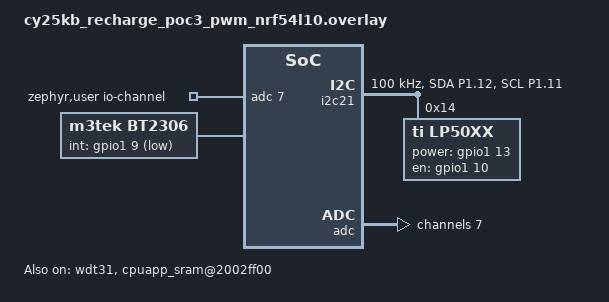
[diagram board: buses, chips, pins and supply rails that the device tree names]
/*
 * Copyright (c) 2024 Nordic Semiconductor ASA
 *
 * SPDX-License-Identifier: LicenseRef-Nordic-5-Clause
 */

/* For nRF54L, watchdog status is disabled by default. Needs to be enabled in DTS overlay. */
&wdt31 {
	status = "okay";
};

/* Application does not use cpuflpr core. Assign whole RRAM to cpuapp. */
&cpuapp_rram {
	reg = < 0x0 DT_SIZE_K(1022) >;
};

/ {
	/delete-node/ pwmleds;
    /delete-node/ aliases;
    /delete-node/ buttons;
    /delete-node/ leds;
};

&pinctrl {
	i2c21_default_alt: i2c21_default_alt {
		group1 {
			psels = <NRF_PSEL(TWIM_SDA, 1, 12)>,
				<NRF_PSEL(TWIM_SCL, 1, 11)>;
		};
	};

	i2c21_sleep_alt: i2c21_sleep_alt {
		group1 {
			psels = <NRF_PSEL(TWIM_SDA, 1, 12)>,
				<NRF_PSEL(TWIM_SCL, 1, 11)>;
			low-power-enable;
		};
	};
};

#include <zephyr/dt-bindings/led/led.h>
&i2c21 {
	compatible = "nordic,nrf-twim";
	status = "okay";
	pinctrl-0 = <&i2c21_default_alt>;
	pinctrl-1 = <&i2c21_sleep_alt>;
	pinctrl-names = "default", "sleep";
    clock-frequency = <I2C_BITRATE_STANDARD>;
    lp50xx: lp50xx@14 {
		compatible = "ti,lp50xx";
		reg = <0x14>;
        power-gpios = <&gpio1 13 (GPIO_ACTIVE_HIGH)>;
		en-gpios = <&gpio1 10 (GPIO_ACTIVE_HIGH)>;
        led_0 {
            label = "S-W";
            index = <0>;
            color-mapping =
                <LED_COLOR_ID_WHITE>;
        };
        led_1 {
            label = "V-W";
            index = <1>;
            color-mapping =
                <LED_COLOR_ID_WHITE>;
        };
        led_2 {
            label = "V-R";
            index = <2>;
            color-mapping =
                <LED_COLOR_ID_WHITE>;
        };
        led_3 {
            label = "M-W";
            index = <3>;
            color-mapping =
                <LED_COLOR_ID_WHITE>;
        };
        led_4 {
            label = "M-R";
            index = <4>;
            color-mapping =
                <LED_COLOR_ID_WHITE>;
        };
        led_5 {
            label = "LED_CAPS";
            index = <5>;
            color-mapping =
                <LED_COLOR_ID_WHITE>;
        };
        led_6 {
            label = "LED_NUM";
            index = <6>;
            color-mapping =
                <LED_COLOR_ID_WHITE>;
        };
        led_7 {
            label = "LED_2.4G";
            index = <7>;
            color-mapping =
                <LED_COLOR_ID_WHITE>;
        };
        led_8 {
            label = "LED_BT1";
            index = <8>;
            color-mapping =
                <LED_COLOR_ID_WHITE>;
        };
        led_9 {
            label = "LED_BT2";
            index = <9>;
            color-mapping =
                <LED_COLOR_ID_WHITE>;
        };
        led_10 {
            label = "LED_PWR";
            index = <10>;
            color-mapping =
                <LED_COLOR_ID_WHITE>;
        };
        led_11 {
            label = "C-W";
            index = <11>;
            color-mapping =
                <LED_COLOR_ID_WHITE>;
        };
	};
 /*
    bq24295: bq24295@6b {
        compatible = "ti,bq24295";
        label = "BQ24295";
        reg = <0x6B>;
        int-gpios = <&gpio1 9 (GPIO_ACTIVE_LOW | GPIO_PULL_UP)>; 
    };

   
    bq25619: bq2561x@6A {
        compatible = "ti,bq2561x";
        label = "BQ2561X";
        reg = <0x6A>;
        int-gpios = <&gpio1 9 (GPIO_ACTIVE_LOW | GPIO_PULL_UP)>;
        ce-gpios = <&gpio0 9 GPIO_ACTIVE_LOW>;
    };*/
};

&uicr {
    nfct-pins-as-gpios;
};

&uart20 {
    status = "disabled";
};

&spi00 {
    status = "disabled";
};

/ {
	zephyr,user {
		io-channels = <&adc 7>;
	};
};

&adc {
	#address-cells = <1>;
	#size-cells = <0>;

	channel@7 {
		reg = <7>;
		zephyr,gain = "ADC_GAIN_1_3";
		zephyr,reference = "ADC_REF_INTERNAL";
		zephyr,acquisition-time = <ADC_ACQ_TIME_DEFAULT>;
		zephyr,input-positive = <NRF_SAADC_AIN7>;
		zephyr,resolution = <12>;
	};
};

&hfxo {
	load-capacitors = "internal";
//	load-capacitance-femtofarad = <8000>;
//	load-capacitance-femtofarad = <12000>;
//	load-capacitance-femtofarad = <14000>;
//	load-capacitance-femtofarad = <15000>;
	load-capacitance-femtofarad = <15500>;
//	load-capacitance-femtofarad = <16000>;

};

/delete-node/ &lfxo;

/ {
	cpuapp_sram@2002ff00 {
		compatible = "zephyr,memory-region", "mmio-sram";
		reg = <0x2002ff00 0x100>;
		zephyr,memory-region = "RetainedMem";
		status = "okay";

		retainedmem0: retainedmem {
			compatible = "zephyr,retained-ram";
			status = "okay";
		};
	};

	aliases {
		retainedmemdevice0 = &retainedmem0;
	};
};

&cpuapp_sram {
	reg = <0x20000000 0x2ff00>;
	ranges = <0x0 0x20000000 0x2ff00>;
};

/ {
    bt2306: bt2306 {
        compatible = "m3tek,bt2306";
        status = "okay";

        int-gpios = <&gpio1 9 (GPIO_ACTIVE_LOW)>; 
    };
};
